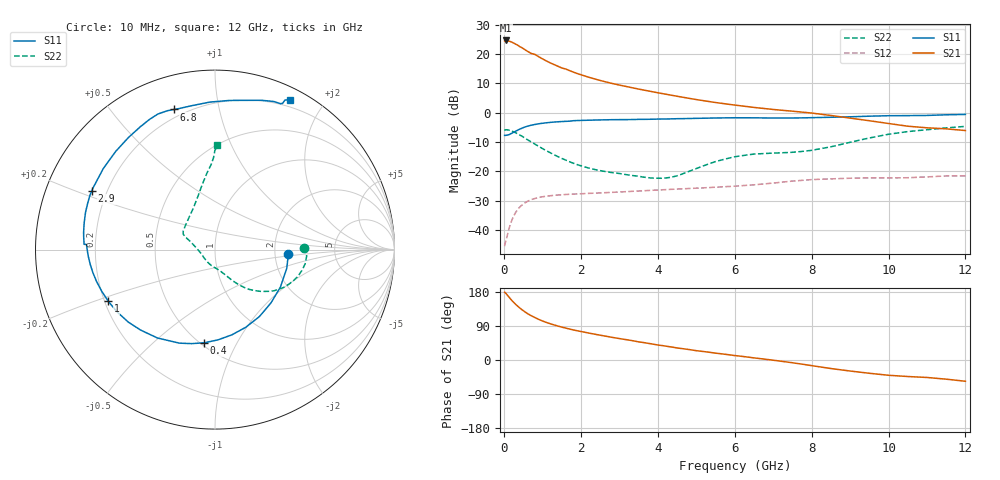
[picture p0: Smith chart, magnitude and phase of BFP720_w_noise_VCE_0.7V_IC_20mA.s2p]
! Infineon Technologies  Discrete & RF Semiconductors
! BFP720
! VCE =  0.7 V,  IC =  20 mA
! Common Emitter S-Parameters:  Aug 2012
# GHz  S  MA  R  50
!  f  S11  S21  S12  S22
! GHz  MAG  ANG  MAG  ANG  MAG  ANG  MAG  ANG
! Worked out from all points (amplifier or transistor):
!   105 points, 10 MHz to 12 GHz, reference 50 ohm
!   highest |S21| = 24.6 dB at 50 MHz (marker M1)
!   |S21| within 3 dB of that: start of sweep to 523.2 MHz
!   unconditionally stable (mu >= 1): start of sweep to 339.7 MHz; 1.366 GHz to end of sweep
!   at 300 MHz: K = 1.07, MAG = 27.0 dB, |S12| = -34.0 dB
!   at 3.6 GHz: K = 1.79, MAG = 12.1 dB, |S12| = -26.6 dB
!   at 12 GHz: K = 1.41, MAG = 3.9 dB, |S12| = -21.5 dB
!   lowest NFmin = 0.77 dB at 450 MHz
!   S11 on the Smith chart (normalised r, x): 10 MHz: 2.38, -0.14; 400 MHz: 0.52, -0.74; 1 GHz: 0.21, -0.22; 2.9 GHz: 0.14, +0.22; 6.8 GHz: 0.16, +0.74; 12 GHz: 0.12, +1.61
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0.01  0.4094 -3.5  16.7 178.8  0.0053 16.7  0.4938 1.1
0.02  0.4091 -6.0  16.92 178.4  0.0058 14.5  0.5098 -1.3
0.05  0.4132 -14.5  17.03 175.1  0.0067 27.7  0.5118 -4.3
0.1  0.4201 -29.9  16.76 168.8  0.0091 43.4  0.5083 -9.0
0.2  0.4478 -56.5  15.93 156.8  0.0148 50.5  0.4857 -17.8
0.3  0.4841 -78.8  14.7 146.6  0.02 48.8  0.4531 -25.4
0.4  0.523 -96.7  13.41 137.6  0.0244 45.3  0.4173 -31.9
0.5  0.5575 -110.8  12.34 129.9  0.0279 41.6  0.3825 -37.4
0.6  0.5875 -123.0  11.18 122.8  0.0307 37.9  0.3478 -42.1
0.7  0.6104 -132.7  10.25 117.0  0.0329 34.8  0.3173 -46.0
0.8  0.6295 -140.0  9.828 112.0  0.0345 32.1  0.2911 -49.5
1  0.6605 -154.2  8.238 102.9  0.0369 27.6  0.2434 -54.9
1.2  0.6833 -164.9  7.049 95.6  0.0384 24.4  0.2072 -59.4
1.5  0.7064 -176.7  5.771 86.7  0.0399 21.1  0.1656 -65.3
2.1  0.7408 170.4  4.221 73.2  0.0418 17.9  0.1187 -78.2
2.9  0.7602 154.7  3.054 58.2  0.0441 16.2  0.0935 -99.2
4.1  0.7791 133.8  2.124 38.2  0.0484 14.5  0.0762 -146.7
6.1  0.819 112.0  1.323 10.6  0.0564 12.2  0.1813 156.4
6.8  0.8132 106.2  1.171 2.0  0.0614 11.5  0.2016 151.5
8.5  0.8349 84.5  0.896 -22.5  0.0744 0.8  0.262 117.2
10.5  0.8915 65.8  0.588 -43.6  0.0778 -10.7  0.4761 92.5
12  0.9338 63.4  0.496 -56.1  0.0838 -19.1  0.584 88.7
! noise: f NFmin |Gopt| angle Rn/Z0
0.45  0.77  0.18  1  0.29
1.8  0.82  0.18  8  0.14
2.4  0.88  0.18  11  0.54
5.5  1.11  0.17  -64  0.18
10  1.26  0.48  -71  0.33
